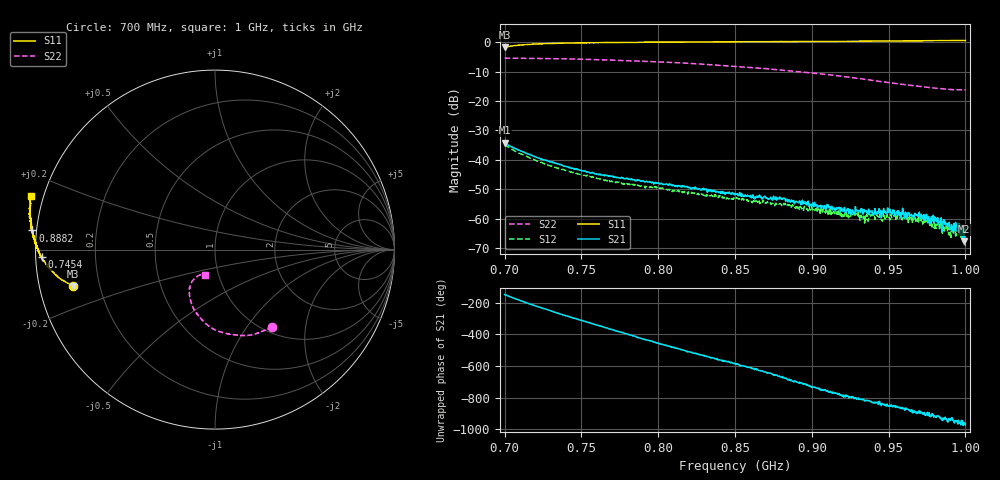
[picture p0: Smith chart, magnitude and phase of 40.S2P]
! C:\Users\rflab\Downloads\Lab5_KD_ZW\Q2\728 MHz\40.S2P
! Touchstone 1.1 file saved by VNA.EXE V1.65 (www.ke5fx.com/gpib/readme.htm)
! 11/18/2024 9:10:59 PM
!  Source: HEWLETT PACKARD,8753D,0,6.14
!  Min freq: 7.000000E+008 Hz
!  Max freq: 1.000000E+009 Hz
!  Points: 801
!  Params: S11 S21 S12 S22
# GHZ S MA R 50
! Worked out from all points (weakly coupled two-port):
!   801 points, 700 MHz to 1 GHz, reference 50 ohm
!   highest |S21| = -34.24 dB at 700 MHz (marker M1); lowest = -67.7 dB at 999.2 MHz (marker M2)
!   lowest |S11| = -1.8 dB at 700 MHz (marker M3), VSWR 9.88, Z = 5.14 - j6.24 ohm
!   |S11| at or under -10 dB: nowhere
!   |S22| runs from -16.2 to -5.4 dB; largest |S21 - S12| = 0.0061
!   S11 on the Smith chart (normalised r, x): 700 MHz: 0.10, -0.12; 745.4 MHz: 0.02, -0.02; 888.2 MHz: -0.01, +0.05; 1 GHz: -0.03, +0.14
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0.7  0.8161 -165.6  0.0194 -148.0  0.01801 -165.8  0.5336 -53.7
0.71875  0.9248 -173.2  0.01156 144.2  0.01018 125.3  0.528 -58.7
0.745375  0.967 -177.5  0.006882 62.6  0.005896 41.7  0.5165 -66.8
0.75025  0.9735 -178.0  0.006564 47.7  0.005493 27.7  0.5127 -68.5
0.800125  0.998 178.2  0.004057 -95.6  0.003222 -113.3  0.4621 -85.3
0.85  1.015 175.9  0.002674 134.0  0.002161 117.7  0.3857 -102.8
0.88825  1.023 174.0  0.002024 19.8  0.001545 6.0  0.3195 -114.9
0.90025  1.026 173.6  0.001652 -16.2  0.001434 -24.1  0.2982 -118.1
0.9265  1.034 172.1  0.001405 -73.8  0.001086 -101.7  0.2489 -124.3
0.92875  1.033 171.9  0.001343 -80.1  0.00125 -98.7  0.2444 -124.6
0.932875  1.037 171.5  0.001446 -94.0  0.00104 -112.0  0.2367 -125.0
0.93925  1.04 171.1  0.001355 -111.8  0.001137 -126.1  0.2243 -125.8
0.950125  1.049 170.2  0.001269 -135.1  0.001047 -155.9  0.205 -125.6
0.965125  1.053 169.1  0.001109 -157.0  0.000999 175.0  0.1833 -124.1
0.9685  1.051 168.7  0.001181 -172.1  0.000942 172.1  0.179 -123.6
0.9805  1.058 167.1  0.000961 159.3  0.000789 146.5  0.1648 -120.8
0.983125  1.058 166.8  0.000908 160.7  0.000629 126.3  0.1622 -120.0
0.989875  1.06 165.7  0.000647 146.7  0.000522 126.2  0.1564 -117.0
0.9925  1.064 165.3  0.000823 127.5  0.000593 119.9  0.1554 -115.6
0.99775  1.066 164.2  0.000462 129.2  0.000562 113.8  0.1545 -112.6
0.99925  1.065 163.9  0.000413 113.3  0.000547 100.4  0.1546 -111.9
1  1.067 163.7  0.000712 106.6  0.000339 110.4  0.1549 -111.4
